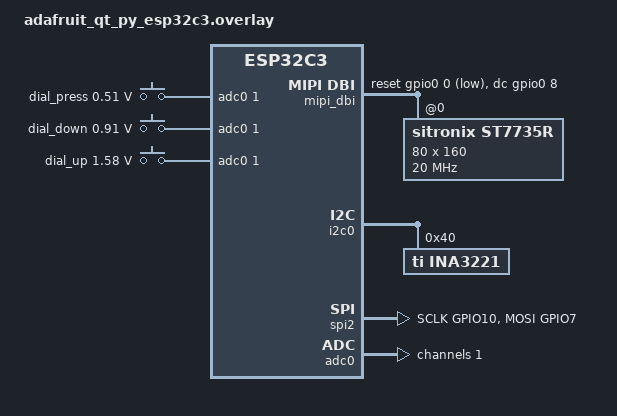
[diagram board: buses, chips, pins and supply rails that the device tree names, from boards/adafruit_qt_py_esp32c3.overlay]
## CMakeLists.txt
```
cmake_minimum_required(VERSION 3.20.0)

find_package(Zephyr REQUIRED HINTS $ENV{ZEPHYR_BASE})
project(powerbread)

target_sources(app PRIVATE
  src/main.c
  src/sampler.c
  src/shell.c
  src/ui.c
  src/input.c
)
```

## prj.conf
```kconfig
# Logging. CSV streaming printk must NOT be routed through the deferred
# log core: packaging ~200 printk/s with %s args crashes the logging
# thread (illegal instruction, mepc=0). With LOG_PRINTK=n printk writes
# synchronously to the console from the sampler thread instead.
CONFIG_LOG=y
CONFIG_LOG_PRINTK=n

# Shell over USB serial (board chosen: zephyr,shell-uart = &usb_serial)
CONFIG_SHELL=y

CONFIG_MAIN_STACK_SIZE=8192

# INA3221 current/voltage monitor
CONFIG_I2C=y
CONFIG_SENSOR=y

# ST7735 display via MIPI-DBI SPI
CONFIG_SPI=y
CONFIG_MIPI_DBI=y
CONFIG_DISPLAY=y

# LVGL
CONFIG_LVGL=y
CONFIG_LV_COLOR_FORMAT_RGB565=y
CONFIG_LV_Z_MEM_POOL_SIZE=49152
CONFIG_LV_Z_VDB_SIZE=100
CONFIG_LV_USE_CHART=y
CONFIG_LV_FONT_MONTSERRAT_12=y
CONFIG_LV_FONT_MONTSERRAT_16=y
CONFIG_LV_FONT_DEFAULT_MONTSERRAT_12=y

# Dial wheel (adc-keys resistor ladder + longpress)
CONFIG_ADC=y
CONFIG_INPUT=y
```

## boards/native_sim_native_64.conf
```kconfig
# native_sim: no I2C sensor or ADC dial hardware
CONFIG_I2C=n
CONFIG_SENSOR=n
CONFIG_ADC=n
```

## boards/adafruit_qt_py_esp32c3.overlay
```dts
/*
 * Copyright (c) 2026 Richard Osterloh
 *
 * SPDX-License-Identifier: Apache-2.0
 */

#include <zephyr/dt-bindings/adc/adc.h>
#include <zephyr/dt-bindings/input/input-event-codes.h>

&i2c0 {
	status = "okay";

	ina3221: ina3221@40 {
		compatible = "ti,ina3221";
		reg = <0x40>;
		/* PowerBread schematic: 50 mOhm shunts on channels 1+2 */
		shunt-resistors = <50 50 50>;
		enable-channel = <1 1 0>;
		/* 140 us conversions, x4 averaging: full 2-ch cycle ~2.24 ms */
		conv-time-shunt = <0>;
		conv-time-bus = <0>;
		avg-mode = <1>;
	};
};

/*
 * ST7735 0.96" 80x160 LCD, wired per the XIAO PowerBread schematic:
 * DIN=GPIO7 (SPI2 MOSI), CLK=GPIO10 (SPI2 SCLK), DC=GPIO8, RST=GPIO0,
 * CS tied low on the module (no CS GPIO), backlight hardwired on.
 * GPIO8 is SPIM2_MISO on the base board; re-pinmux SPI2 without MISO so
 * GPIO8 is free to drive the DC line (display is write-only).
 */

&pinctrl {
	spim2_lcd: spim2_lcd {
		group1 {
			pinmux = <SPIM2_SCLK_GPIO10>;
		};

		group2 {
			pinmux = <SPIM2_MOSI_GPIO7>;
			output-low;
		};
	};
};

&spi2 {
	pinctrl-0 = <&spim2_lcd>;
	pinctrl-names = "default";
};

/ {
	chosen {
		zephyr,display = &st7735r;
	};

	mipi_dbi {
		compatible = "zephyr,mipi-dbi-spi";
		spi-dev = <&spi2>;
		dc-gpios = <&gpio0 8 GPIO_ACTIVE_HIGH>;
		reset-gpios = <&gpio0 0 GPIO_ACTIVE_LOW>;
		write-only;
		#address-cells = <1>;
		#size-cells = <0>;

		/* Panel init values from the in-tree heltec_wireless_tracker
		 * (same 0.96" 160x80 ST7735 panel), rotated to portrait.
		 */
		st7735r: st7735r@0 {
			compatible = "sitronix,st7735r";
			reg = <0>;
			mipi-max-frequency = <20000000>;
			mipi-mode = "MIPI_DBI_MODE_SPI_4WIRE";
			width = <80>;
			height = <160>;
			/* Match upstream LGFX_096_XPB: invert=false, offset 24/0,
			 * rotation 0 (no MX/MY), BGR color order.
			 */
			x-offset = <24>;
			y-offset = <0>;
			madctl = <0x00>;
			colmod = <0x05>;
			invctr = <7>;
			vmctr1 = <0x0e>;
			pwctr1 = [a2 02 84];
			pwctr2 = [c1];
			pwctr3 = [0a 00];
			pwctr4 = [8a 2a];
			pwctr5 = [8a ee];
			frmctr1 = [01 26 2e];
			frmctr2 = [01 26 2e];
			frmctr3 = [01 26 2e 01 26 2e];
			gamctrp1 = [0f 1a 0f 18 2f 28 20 22 1f 1b 23 37 00 07 02 10];
			gamctrn1 = [0f 1b 0f 17 33 2c 29 2e 30 2e 30 3b 00 07 03 10];
		};
	};
};

/*
 * PowerBread dial wheel: resistor ladder on D2/A2 = GPIO1 = ADC1 channel 1.
 * Idle sits near 0 V; press/down/up produce distinct levels. Thresholds
 * derived from upstream's 10-bit values (XIAO ESP32-C3 build); calibrate
 * with `powerbread dial` and adjust here if the module differs.
 */

&adc0 {
	#address-cells = <1>;
	#size-cells = <0>;
	status = "okay";

	channel@1 {
		reg = <1>;
		zephyr,gain = "ADC_GAIN_1_4";
		zephyr,reference = "ADC_REF_INTERNAL";
		zephyr,acquisition-time = <ADC_ACQ_TIME_DEFAULT>;
		zephyr,resolution = <12>;
	};
};

/ {
	dial: dial {
		compatible = "adc-keys";
		io-channels = <&adc0 1>;
		keyup-threshold-mv = <0>;
		sample-period-ms = <20>;

		dial_press {
			press-thresholds-mv = <510>;
			zephyr,code = <INPUT_KEY_ENTER>;
		};

		dial_down {
			press-thresholds-mv = <910>;
			zephyr,code = <INPUT_KEY_DOWN>;
		};

		dial_up {
			press-thresholds-mv = <1580>;
			zephyr,code = <INPUT_KEY_UP>;
		};
	};

	longpress {
		compatible = "zephyr,input-longpress";
		input = <&dial>;
		input-codes = <INPUT_KEY_ENTER>;
		short-codes = <INPUT_KEY_A>;
		long-codes = <INPUT_KEY_B>;
		long-delay-ms = <1000>;
	};
};
```

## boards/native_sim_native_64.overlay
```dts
/*
 * Copyright (c) 2026 Richard Osterloh
 *
 * SPDX-License-Identifier: Apache-2.0
 *
 * native_sim: SDL window stands in for the ST7735 (80x160); no INA3221 or
 * dial hardware — the sampler falls back to synthetic data.
 */

&sdl_dc {
	width = <80>;
	height = <160>;
};
```

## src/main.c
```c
/*
 * Copyright (c) 2026 Richard Osterloh
 *
 * SPDX-License-Identifier: Apache-2.0
 */

#include "ui.h"

#include <lvgl.h>
#include <zephyr/kernel.h>
#include <zephyr/logging/log.h>

#include <zephyr/app_version.h>

LOG_MODULE_REGISTER(main, LOG_LEVEL_INF);

#define REFRESH_LOOP_CAP_MS 50

int main(void)
{
	LOG_INF("PowerBread %s", APP_VERSION_STRING);

	if (pb_ui_init() != 0) {
		LOG_ERR("UI disabled; sampler and shell remain active");
		k_sleep(K_FOREVER);
	}

	while (true) {
		uint32_t delay = lv_timer_handler();

		k_msleep(MIN(delay, REFRESH_LOOP_CAP_MS));
	}
	return 0;
}
```

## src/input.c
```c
/*
 * Copyright (c) 2026 Richard Osterloh
 *
 * SPDX-License-Identifier: Apache-2.0
 */

#include "sampler.h"
#include "ui.h"

#include <zephyr/input/input.h>

static void dial_cb(struct input_event *evt, void *user_data)
{
	ARG_UNUSED(user_data);

	if (evt->type != INPUT_EV_KEY || evt->value != 1) {
		return;
	}

	switch (evt->code) {
	case INPUT_KEY_UP:
		pb_ui_step_mode(1);
		break;
	case INPUT_KEY_DOWN:
		pb_ui_step_mode(-1);
		break;
	case INPUT_KEY_A: /* dial short press */
		pb_ui_set_channel((pb_ui_get_channel() + 1) % PB_NUM_CH);
		break;
	case INPUT_KEY_B: /* dial long press */
		sampler_reset_stats();
		break;
	default:
		break;
	}
}

INPUT_CALLBACK_DEFINE(NULL, dial_cb, NULL);
```

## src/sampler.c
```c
/*
 * Copyright (c) 2026 Richard Osterloh
 *
 * SPDX-License-Identifier: Apache-2.0
 */

#include "sampler.h"

#include <math.h>
#include <stdlib.h>

#include <zephyr/device.h>
#include <zephyr/drivers/sensor.h>
#include <zephyr/kernel.h>
#include <zephyr/logging/log.h>
#include <zephyr/sys/printk.h>

LOG_MODULE_REGISTER(sampler, LOG_LEVEL_INF);

/*
 * Private attribute of the in-tree INA3221 driver
 * (deps/zephyr/drivers/sensor/ti/ina3221/ina3221.h). Selects which of the
 * three hardware channels channel_get() reports; val1 is 1-based.
 */
#define SENSOR_ATTR_INA3221_SELECTED_CHANNEL (SENSOR_ATTR_PRIV_START + 1)

#define SAMPLE_PERIOD_MS 10
#define CHART_DECIMATION 5 /* 100 Hz / 5 = 20 Hz chart rate */

struct channel_acc {
	float v, ma, mw;
	float v_min, v_max;
	float ma_min, ma_max;
	double ma_sum;
	uint32_t n;
	double mah, mwh;
	int32_t chart[PB_CHART_POINTS];
	uint16_t head; /* next write index == oldest sample */
};

#if DT_HAS_COMPAT_STATUS_OKAY(ti_ina3221)
static const struct device *const ina = DEVICE_DT_GET_ONE(ti_ina3221);
#endif
static struct channel_acc acc[PB_NUM_CH];
static bool sensor_ok;
static bool stream_on;
static K_MUTEX_DEFINE(lock);

static void reset_channel(struct channel_acc *c)
{
	c->v_min = 1e9f;
	c->ma_min = 1e9f;
	c->v_max = -1e9f;
	c->ma_max = -1e9f;
	c->ma_sum = 0.0;
	c->n = 0;
	c->mah = 0.0;
	c->mwh = 0.0;
}

void sampler_reset_stats(void)
{
	k_mutex_lock(&lock, K_FOREVER);
	for (int i = 0; i < PB_NUM_CH; i++) {
		reset_channel(&acc[i]);
	}
	k_mutex_unlock(&lock);
}

void sampler_stream_set(bool enable)
{
	stream_on = enable;
}

bool sampler_stream_get(void)
{
	return stream_on;
}

void sampler_get(struct pb_snapshot *out)
{
	k_mutex_lock(&lock, K_FOREVER);
	out->sensor_ok = sensor_ok;
	out->t_ms = k_uptime_get_32();
	for (int i = 0; i < PB_NUM_CH; i++) {
		const struct channel_acc *c = &acc[i];
		struct pb_channel_stats *o = &out->ch[i];

		o->v = c->v;
		o->ma = c->ma;
		o->mw = c->mw;
		o->v_min = (c->n > 0) ? c->v_min : 0.0f;
		o->v_max = (c->n > 0) ? c->v_max : 0.0f;
		o->ma_min = (c->n > 0) ? c->ma_min : 0.0f;
		o->ma_max = (c->n > 0) ? c->ma_max : 0.0f;
		o->ma_avg = (c->n > 0) ? (float)(c->ma_sum / c->n) : 0.0f;
		o->mah = (float)c->mah;
		o->mwh = (float)c->mwh;
		for (int p = 0; p < PB_CHART_POINTS; p++) {
			o->chart[p] = c->chart[(c->head + p) % PB_CHART_POINTS];
		}
	}
	k_mutex_unlock(&lock);
}

#if DT_HAS_COMPAT_STATUS_OKAY(ti_ina3221)
static int read_channels(float *v, float *ma, float *mw)
{
	struct sensor_value val;
	int ret;

	ret = sensor_sample_fetch(ina);
	if (ret != 0) {
		return ret;
	}

	for (int i = 0; i < PB_NUM_CH; i++) {
		struct sensor_value sel = {.val1 = i + 1, .val2 = 0};

		ret = sensor_attr_set(ina, SENSOR_CHAN_ALL, SENSOR_ATTR_INA3221_SELECTED_CHANNEL,
				      &sel);
		if (ret != 0) {
			return ret;
		}
		ret = sensor_channel_get(ina, SENSOR_CHAN_VOLTAGE, &val);
		if (ret != 0) {
			return ret;
		}
		v[i] = sensor_value_to_float(&val);
		ret = sensor_channel_get(ina, SENSOR_CHAN_CURRENT, &val);
		if (ret != 0) {
			return ret;
		}
		ma[i] = sensor_value_to_float(&val) * 1000.0f;
		ret = sensor_channel_get(ina, SENSOR_CHAN_POWER, &val);
		if (ret != 0) {
			return ret;
		}
		mw[i] = sensor_value_to_float(&val) * 1000.0f;
	}
	return 0;
}
#else
/* No sensor hardware (native_sim): synthesize plausible waveforms so the
 * UI and stats paths can be exercised on the host.
 */
static int read_channels(float *v, float *ma, float *mw)
{
	float phase = (float)(k_uptime_get_32() % 8000U) * (2.0f * 3.14159265f / 8000.0f);

	v[0] = 5.02f;
	ma[0] = 320.0f + 250.0f * sinf(phase);
	v[1] = 3.31f;
	ma[1] = 116.0f + 60.0f * sinf(phase * 1.7f);
	for (int i = 0; i < PB_NUM_CH; i++) {
		mw[i] = v[i] * ma[i];
	}
	return 0;
}
#endif

static void stream_csv(uint32_t t_ms, const float *v, const float *ma, const float *mw)
{
	for (int i = 0; i < PB_NUM_CH; i++) {
		int32_t mv = (int32_t)(v[i] * 1000.0f);
		int32_t ma_x10 = (int32_t)(ma[i] * 10.0f);
		int32_t mw_x10 = (int32_t)(mw[i] * 10.0f);

		printk("%u,%d,%d,%s%d.%d,%s%d.%d\n", t_ms, i + 1, mv,
		       (ma_x10 < 0 && ma_x10 > -10) ? "-" : "", ma_x10 / 10, abs(ma_x10 % 10),
		       (mw_x10 < 0 && mw_x10 > -10) ? "-" : "", mw_x10 / 10, abs(mw_x10 % 10));
	}
}

static void sampler_thread(void *a, void *b, void *c)
{
	float v[PB_NUM_CH], ma[PB_NUM_CH], mw[PB_NUM_CH];
	unsigned int decim = 0;
	int64_t last_t = 0;
	unsigned int errs = 0;

	ARG_UNUSED(a);
	ARG_UNUSED(b);
	ARG_UNUSED(c);

	sampler_reset_stats();

#if DT_HAS_COMPAT_STATUS_OKAY(ti_ina3221)
	if (!device_is_ready(ina)) {
		LOG_ERR("INA3221 not ready");
		return;
	}
#else
	LOG_WRN("no INA3221 on this board; using synthetic data");
#endif

	last_t = k_uptime_get();

	while (true) {
		int64_t t0 = k_uptime_get();
		int ret = read_channels(v, ma, mw);

		if (ret == 0) {
			int64_t now = k_uptime_get();
			double dt_h = (double)(now - last_t) / 3600000.0;
			bool push;

			last_t = now;
			decim++;
			push = (decim >= CHART_DECIMATION);
			if (push) {
				decim = 0;
			}

			k_mutex_lock(&lock, K_FOREVER);
			sensor_ok = true;
			for (int i = 0; i < PB_NUM_CH; i++) {
				struct channel_acc *ch = &acc[i];

				ch->v = v[i];
				ch->ma = ma[i];
				ch->mw = mw[i];
				ch->v_min = MIN(ch->v_min, v[i]);
				ch->v_max = MAX(ch->v_max, v[i]);
				ch->ma_min = MIN(ch->ma_min, ma[i]);
				ch->ma_max = MAX(ch->ma_max, ma[i]);
				ch->ma_sum += ma[i];
				ch->n++;
				ch->mah += ma[i] * dt_h;
				ch->mwh += mw[i] * dt_h;
				if (push) {
					ch->chart[ch->head] = (int32_t)ma[i];
					ch->head = (ch->head + 1) % PB_CHART_POINTS;
				}
			}
			k_mutex_unlock(&lock);

			if (stream_on) {
				stream_csv((uint32_t)now, v, ma, mw);
			}
			errs = 0;
		} else {
			k_mutex_lock(&lock, K_FOREVER);
			sensor_ok = false;
			k_mutex_unlock(&lock);
			errs++;
			if (errs == 1 || (errs % 500) == 0) {
				LOG_WRN("INA3221 read failed: %d", ret);
			}
		}

		int64_t elapsed = k_uptime_get() - t0;

		if (elapsed < SAMPLE_PERIOD_MS) {
			k_msleep(SAMPLE_PERIOD_MS - (int32_t)elapsed);
		}
	}
}

/* 4 KiB: printk CSV formatting stacks on top of the sensor read path, and
 * the ESP32-C3 has no HW stack guard — 2 KiB was intermittently overflowing.
 */
K_THREAD_DEFINE(pb_sampler, 4096, sampler_thread, NULL, NULL, NULL, 5, 0, 0);
```

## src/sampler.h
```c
/*
 * Copyright (c) 2026 Richard Osterloh
 *
 * SPDX-License-Identifier: Apache-2.0
 */

#ifndef APP_SAMPLER_H_
#define APP_SAMPLER_H_

#include <stdbool.h>
#include <stdint.h>

#define PB_NUM_CH       2
#define PB_CHART_POINTS 160

struct pb_channel_stats {
	float v;  /* latest bus voltage [V] */
	float ma; /* latest current [mA] */
	float mw; /* latest power [mW] */
	float v_min, v_max;
	float ma_min, ma_max;
	float ma_avg;
	float mah;                      /* accumulated charge [mAh] since reset */
	float mwh;                      /* accumulated energy [mWh] since reset */
	int32_t chart[PB_CHART_POINTS]; /* current [mA], oldest first, 20 Hz */
};

struct pb_snapshot {
	bool sensor_ok;
	uint32_t t_ms;
	struct pb_channel_stats ch[PB_NUM_CH];
};

void sampler_get(struct pb_snapshot *out);
void sampler_reset_stats(void);
void sampler_stream_set(bool enable);
bool sampler_stream_get(void);

#endif /* APP_SAMPLER_H_ */
```

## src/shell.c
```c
/*
 * Copyright (c) 2026 Richard Osterloh
 *
 * SPDX-License-Identifier: Apache-2.0
 */

#include "sampler.h"
#include "ui.h"

#include <errno.h>
#include <stdio.h>
#include <stdlib.h>
#include <string.h>

#include <zephyr/drivers/adc.h>
#include <zephyr/shell/shell.h>

/* "12.34" style formatting without float printf: value scaled by 100.
 * The explicit sign prefix keeps -0.99..-0.01 from printing as positive
 * (integer division truncates -50/100 to 0).
 */
static void fmt_x100(char *buf, size_t len, int32_t x100)
{
	snprintf(buf, len, "%s%d.%02d", (x100 < 0 && x100 > -100) ? "-" : "", x100 / 100,
		 abs(x100 % 100));
}

static int cmd_read(const struct shell *sh, size_t argc, char **argv)
{
	struct pb_snapshot snap;

	ARG_UNUSED(argc);
	ARG_UNUSED(argv);

	sampler_get(&snap);
	if (!snap.sensor_ok) {
		shell_error(sh, "sensor not available");
		return -EIO;
	}
	for (int i = 0; i < PB_NUM_CH; i++) {
		char v[16], ma[16], mw[16];

		fmt_x100(v, sizeof(v), (int32_t)(snap.ch[i].v * 100.0f));
		fmt_x100(ma, sizeof(ma), (int32_t)(snap.ch[i].ma * 100.0f));
		fmt_x100(mw, sizeof(mw), (int32_t)(snap.ch[i].mw * 100.0f));
		shell_print(sh, "CH%d: %s V  %s mA  %s mW", i + 1, v, ma, mw);
	}
	return 0;
}

static int cmd_reset(const struct shell *sh, size_t argc, char **argv)
{
	ARG_UNUSED(argc);
	ARG_UNUSED(argv);

	sampler_reset_stats();
	shell_print(sh, "stats reset");
	return 0;
}

static int cmd_stream(const struct shell *sh, size_t argc, char **argv)
{
	if (strcmp(argv[1], "on") == 0) {
		sampler_stream_set(true);
	} else if (strcmp(argv[1], "off") == 0) {
		sampler_stream_set(false);
	} else {
		shell_error(sh, "usage: powerbread stream <on|off>");
		return -EINVAL;
	}
	shell_print(sh, "stream %s", sampler_stream_get() ? "on" : "off");
	return 0;
}

static int cmd_mode(const struct shell *sh, size_t argc, char **argv)
{
	if (strcmp(argv[1], "dash") == 0) {
		pb_ui_set_mode(PB_MODE_DASH);
	} else if (strcmp(argv[1], "chart") == 0) {
		pb_ui_set_mode(PB_MODE_CHART);
	} else if (strcmp(argv[1], "stats") == 0) {
		pb_ui_set_mode(PB_MODE_STATS);
	} else {
		shell_error(sh, "usage: powerbread mode <dash|chart|stats>");
		return -EINVAL;
	}
	shell_print(sh, "mode %s", argv[1]);
	return 0;
}

static int cmd_channel(const struct shell *sh, size_t argc, char **argv)
{
	int ch = atoi(argv[1]);

	if (ch < 1 || ch > PB_NUM_CH) {
		shell_error(sh, "usage: powerbread channel <1|2>");
		return -EINVAL;
	}
	pb_ui_set_channel((uint8_t)(ch - 1));
	shell_print(sh, "channel %d", ch);
	return 0;
}

#if DT_NODE_EXISTS(DT_NODELABEL(dial))
static int cmd_dial(const struct shell *sh, size_t argc, char **argv)
{
	static const struct adc_dt_spec dial_adc = ADC_DT_SPEC_GET_BY_IDX(DT_NODELABEL(dial), 0);
	int16_t raw;
	struct adc_sequence seq = {
		.buffer = &raw,
		.buffer_size = sizeof(raw),
	};
	int32_t mv;
	int ret;

	ARG_UNUSED(argc);
	ARG_UNUSED(argv);

	/* Channel is configured at init by the adc-keys driver;
	 * re-setup would race its calibration handle.
	 */
	ret = adc_sequence_init_dt(&dial_adc, &seq);
	if (ret == 0) {
		ret = adc_read_dt(&dial_adc, &seq);
	}
	if (ret != 0) {
		shell_error(sh, "adc read failed: %d", ret);
		return ret;
	}
	mv = raw;
	ret = adc_raw_to_millivolts_dt(&dial_adc, &mv);
	if (ret != 0) {
		shell_error(sh, "mv conversion failed: %d", ret);
		return ret;
	}
	shell_print(sh, "dial: %d mV (raw %d)", mv, raw);
	return 0;
}
#else
static int cmd_dial(const struct shell *sh, size_t argc, char **argv)
{
	ARG_UNUSED(argc);
	ARG_UNUSED(argv);

	shell_error(sh, "no dial on this board");
	return -ENOTSUP;
}
#endif

SHELL_STATIC_SUBCMD_SET_CREATE(
	sub_powerbread, SHELL_CMD(read, NULL, "One-shot readings for both channels", cmd_read),
	SHELL_CMD(reset, NULL, "Reset stats and energy counters", cmd_reset),
	SHELL_CMD_ARG(stream, NULL, "CSV streaming: stream <on|off>", cmd_stream, 2, 0),
	SHELL_CMD_ARG(mode, NULL, "Set UI mode: mode <dash|chart|stats>", cmd_mode, 2, 0),
	SHELL_CMD_ARG(channel, NULL, "Set focused channel: channel <1|2>", cmd_channel, 2, 0),
	SHELL_CMD(dial, NULL, "Read dial ADC level (calibration aid)", cmd_dial),
	SHELL_SUBCMD_SET_END);

SHELL_CMD_REGISTER(powerbread, &sub_powerbread, "PowerBread power monitor", NULL);
```

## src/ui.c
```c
/*
 * Copyright (c) 2026 Richard Osterloh
 *
 * SPDX-License-Identifier: Apache-2.0
 */

#include "ui.h"
#include "sampler.h"

#include <stdio.h>
#include <stdlib.h>

#include <lvgl.h>
#include <zephyr/device.h>
#include <zephyr/drivers/display.h>
#include <zephyr/logging/log.h>
#include <zephyr/sys/atomic.h>

LOG_MODULE_REGISTER(ui, LOG_LEVEL_INF);

#define REFRESH_PERIOD_MS 100

static atomic_t req_mode = ATOMIC_INIT(PB_MODE_DASH);
static atomic_t req_channel = ATOMIC_INIT(0);

static lv_obj_t *pages[PB_MODE_COUNT];
static lv_obj_t *dash_val[PB_NUM_CH][3];        /* V / mA / mW value labels */
static lv_obj_t *dash_unit[PB_NUM_CH][3];       /* unit labels; power flips mW<->W */
static enum pb_mode shown_mode = PB_MODE_COUNT; /* force first update */
static struct pb_snapshot snap;

static lv_obj_t *chart;
static lv_chart_series_t *chart_ser;
static lv_obj_t *chart_label;
static int32_t chart_buf[PB_CHART_POINTS];
static lv_obj_t *stats_label;

void pb_ui_set_mode(enum pb_mode mode)
{
	if (mode < PB_MODE_COUNT) {
		atomic_set(&req_mode, mode);
	}
}

void pb_ui_step_mode(int dir)
{
	int m = ((int)atomic_get(&req_mode) + dir + PB_MODE_COUNT) % PB_MODE_COUNT;

	atomic_set(&req_mode, m);
}

void pb_ui_set_channel(uint8_t ch)
{
	if (ch < PB_NUM_CH) {
		atomic_set(&req_channel, ch);
	}
}

uint8_t pb_ui_get_channel(void)
{
	return (uint8_t)atomic_get(&req_channel);
}

/* "12.34" style formatting without float printf: value scaled by 100.
 * The explicit sign prefix keeps -0.99..-0.01 from printing as positive
 * (integer division truncates -50/100 to 0).
 */
static void fmt_x100(char *buf, size_t len, int32_t x100)
{
	snprintf(buf, len, "%s%d.%02d", (x100 < 0 && x100 > -100) ? "-" : "", x100 / 100,
		 abs(x100 % 100));
}

/* one decimal place variant, value scaled by 10 */
static void fmt_x10(char *buf, size_t len, int32_t x10)
{
	snprintf(buf, len, "%s%d.%d", (x10 < 0 && x10 > -10) ? "-" : "", x10 / 10, abs(x10 % 10));
}

/* upstream PowerBread channel accents: cyan for A, pink for B */
static lv_color_t ch_color(uint8_t ch)
{
	return (ch == 0) ? lv_color_hex(0x00b8d4) : lv_color_hex(0xf0308c);
}

static void create_dash(lv_obj_t *parent)
{
	static const char *const units[3] = {"V", "mA", "mW"};

	for (int i = 0; i < PB_NUM_CH; i++) {
		int y0 = (i == 0) ? 2 : 82;
		lv_obj_t *chip = lv_label_create(parent);

		lv_label_set_text_fmt(chip, "Channel %c", 'A' + i);
		lv_obj_set_style_bg_color(chip, ch_color(i), 0);
		lv_obj_set_style_bg_opa(chip, LV_OPA_COVER, 0);
		lv_obj_set_style_radius(chip, 2, 0);
		lv_obj_set_style_pad_hor(chip, 3, 0);
		lv_obj_set_style_pad_ver(chip, 1, 0);
		lv_obj_align(chip, LV_ALIGN_TOP_LEFT, 0, y0);

		for (int r = 0; r < 3; r++) {
			int ry = y0 + 16 + r * 17;

			dash_val[i][r] = lv_label_create(parent);
			lv_obj_set_style_text_font(dash_val[i][r], &lv_font_montserrat_16, 0);
			lv_label_set_text(dash_val[i][r], "--");
			lv_obj_align(dash_val[i][r], LV_ALIGN_TOP_LEFT, 0, ry);

			dash_unit[i][r] = lv_label_create(parent);
			lv_label_set_text(dash_unit[i][r], units[r]);
			lv_obj_set_style_text_color(dash_unit[i][r], lv_color_hex(0x9e9e9e), 0);
			lv_obj_align(dash_unit[i][r], LV_ALIGN_TOP_RIGHT, 0, ry + 4);
		}
	}
}

static void create_chart(lv_obj_t *parent)
{
	chart = lv_chart_create(parent);
	lv_obj_set_size(chart, lv_pct(100), 135);
	lv_obj_align(chart, LV_ALIGN_TOP_MID, 0, 0);
	lv_obj_set_style_bg_color(chart, lv_color_black(), 0);
	lv_obj_set_style_border_width(chart, 0, 0);
	lv_obj_set_style_line_color(chart, lv_color_hex(0x303030), LV_PART_MAIN);
	lv_chart_set_type(chart, LV_CHART_TYPE_LINE);
	lv_chart_set_point_count(chart, PB_CHART_POINTS);
	lv_chart_set_div_line_count(chart, 4, 4);
	chart_ser = lv_chart_add_series(chart, ch_color(0), LV_CHART_AXIS_PRIMARY_Y);
	lv_chart_set_series_ext_y_array(chart, chart_ser, chart_buf);

	chart_label = lv_label_create(parent);
	lv_obj_align(chart_label, LV_ALIGN_BOTTOM_MID, 0, 0);
	lv_label_set_text(chart_label, "--");
}

static void create_stats(lv_obj_t *parent)
{
	stats_label = lv_label_create(parent);
	lv_obj_align(stats_label, LV_ALIGN_TOP_LEFT, 0, 0);
	lv_label_set_text(stats_label, "--");
}

static void update_dash(void)
{
	for (int i = 0; i < PB_NUM_CH; i++) {
		char v[16], ma[16], mw[16];

		fmt_x100(v, sizeof(v), (int32_t)(snap.ch[i].v * 100.0f));
		fmt_x10(ma, sizeof(ma), (int32_t)(snap.ch[i].ma * 10.0f));
		if (snap.ch[i].mw >= 1000.0f) {
			/* upstream shows watts once past 1 W (e.g. "1.62 W") */
			fmt_x100(mw, sizeof(mw), (int32_t)(snap.ch[i].mw / 10.0f));
			lv_label_set_text(dash_unit[i][2], "W");
		} else {
			fmt_x10(mw, sizeof(mw), (int32_t)(snap.ch[i].mw * 10.0f));
			lv_label_set_text(dash_unit[i][2], "mW");
		}
		lv_label_set_text(dash_val[i][0], v);
		lv_label_set_text(dash_val[i][1], ma);
		lv_label_set_text(dash_val[i][2], mw);
	}
}

static void update_chart(void)
{
	uint8_t ch = pb_ui_get_channel();
	const struct pb_channel_stats *c = &snap.ch[ch];
	int32_t lo = INT32_MAX, hi = INT32_MIN;
	char ma[16];

	for (int p = 0; p < PB_CHART_POINTS; p++) {
		chart_buf[p] = c->chart[p];
		lo = MIN(lo, chart_buf[p]);
		hi = MAX(hi, chart_buf[p]);
	}
	/* pad the range so a flat line is not glued to an edge */
	if (hi - lo < 10) {
		hi = lo + 10;
	}
	lv_chart_set_series_color(chart, chart_ser, ch_color(ch));
	lv_chart_set_axis_range(chart, LV_CHART_AXIS_PRIMARY_Y, lo, hi);
	lv_chart_refresh(chart);

	fmt_x100(ma, sizeof(ma), (int32_t)(c->ma * 100.0f));
	lv_label_set_text_fmt(chart_label, "%s mA", ma);
}

static void update_stats(void)
{
	const struct pb_channel_stats *c = &snap.ch[pb_ui_get_channel()];
	char lo[16], hi[16], avg[16], v[16], mah[16], mwh[16];

	fmt_x100(lo, sizeof(lo), (int32_t)(c->ma_min * 100.0f));
	fmt_x100(hi, sizeof(hi), (int32_t)(c->ma_max * 100.0f));
	fmt_x100(avg, sizeof(avg), (int32_t)(c->ma_avg * 100.0f));
	fmt_x100(v, sizeof(v), (int32_t)(c->v * 100.0f));
	fmt_x100(mah, sizeof(mah), (int32_t)(c->mah * 100.0f));
	fmt_x100(mwh, sizeof(mwh), (int32_t)(c->mwh * 100.0f));
	lv_label_set_text_fmt(stats_label, "V %s\nmin %s\nmax %s\navg %s\nmAh %s\nmWh %s", v, lo,
			      hi, avg, mah, mwh);
}

static void refresh_cb(lv_timer_t *timer)
{
	enum pb_mode mode = (enum pb_mode)atomic_get(&req_mode);

	ARG_UNUSED(timer);

	sampler_get(&snap);

	if (mode != shown_mode) {
		for (int i = 0; i < PB_MODE_COUNT; i++) {
			lv_obj_set_hidden(pages[i], i != mode);
		}
		shown_mode = mode;
	}

	switch (mode) {
	case PB_MODE_DASH:
		update_dash();
		break;
	case PB_MODE_CHART:
		update_chart();
		break;
	case PB_MODE_STATS:
		update_stats();
		break;
	default:
		break;
	}
}

int pb_ui_init(void)
{
	const struct device *disp = DEVICE_DT_GET(DT_CHOSEN(zephyr_display));

	if (!device_is_ready(disp)) {
		LOG_ERR("display not ready");
		return -ENODEV;
	}

	lv_obj_t *scr = lv_screen_active();

	/* dark theme matching upstream PowerBread */
	lv_obj_set_style_bg_color(scr, lv_color_black(), 0);
	lv_obj_set_style_text_color(scr, lv_color_white(), 0);
	lv_obj_set_style_pad_all(scr, 0, 0);
	lv_obj_set_scrollable(scr, false);

	for (int i = 0; i < PB_MODE_COUNT; i++) {
		pages[i] = lv_obj_create(scr);
		lv_obj_set_size(pages[i], lv_pct(100), lv_pct(100));
		lv_obj_align(pages[i], LV_ALIGN_BOTTOM_MID, 0, 0);
		lv_obj_set_style_bg_opa(pages[i], LV_OPA_TRANSP, 0);
		lv_obj_set_style_text_color(pages[i], lv_color_white(), 0);
		lv_obj_set_style_pad_all(pages[i], 2, 0);
		lv_obj_set_style_border_width(pages[i], 0, 0);
		lv_obj_set_style_radius(pages[i], 0, 0);
		lv_obj_set_scrollbar_mode(pages[i], LV_SCROLLBAR_MODE_OFF);
		lv_obj_set_scrollable(pages[i], false);
		lv_obj_set_hidden(pages[i], true);
	}

	create_dash(pages[PB_MODE_DASH]);
	create_chart(pages[PB_MODE_CHART]);
	create_stats(pages[PB_MODE_STATS]);

	lv_timer_create(refresh_cb, REFRESH_PERIOD_MS, NULL);

	display_blanking_off(disp);

	return 0;
}
```

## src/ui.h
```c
/*
 * Copyright (c) 2026 Richard Osterloh
 *
 * SPDX-License-Identifier: Apache-2.0
 */

#ifndef APP_UI_H_
#define APP_UI_H_

#include <stdint.h>

enum pb_mode {
	PB_MODE_DASH,
	PB_MODE_CHART,
	PB_MODE_STATS,
	PB_MODE_COUNT,
};

int pb_ui_init(void);
void pb_ui_set_mode(enum pb_mode mode);
void pb_ui_step_mode(int dir);
void pb_ui_set_channel(uint8_t ch);
uint8_t pb_ui_get_channel(void);

#endif /* APP_UI_H_ */
```
